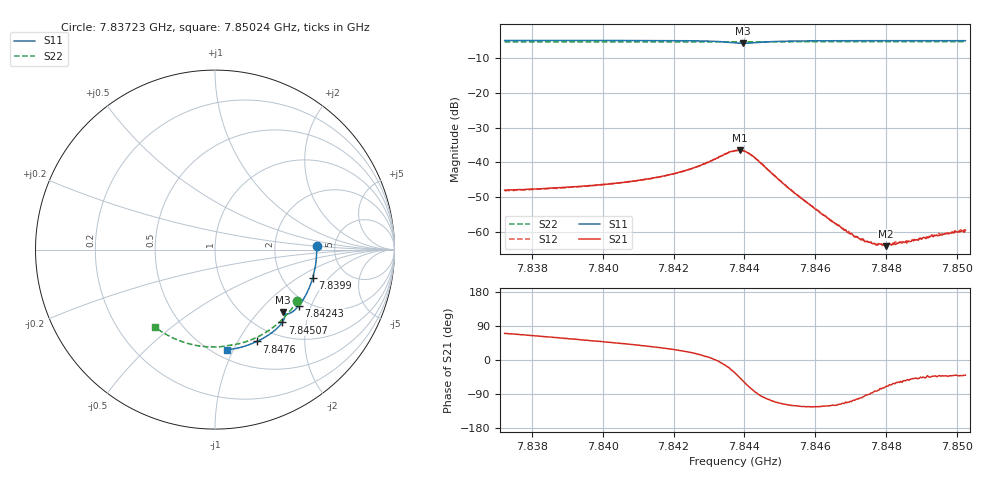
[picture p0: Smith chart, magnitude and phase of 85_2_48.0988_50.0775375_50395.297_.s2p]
#  HZ  S  RI  R  50.00
! Rohde & Schwarz Vector Network Analyzer
! Rohde-Schwarz,ZNB20-2Port,1311601062101988,3.16
! Created: UTC 12/23/2023, 3:43:11 AM
! freq[Hz]  re:S11  im:S11  re:S21  im:S21  re:S12  im:S12  re:S22  im:S22
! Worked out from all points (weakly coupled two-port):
!   401 points, 7.83723 GHz to 7.85024 GHz, reference 50 ohm
!   highest |S21| = -36.51 dB at 7.84386 GHz (marker M1); lowest = -64.1 dB at 7.84799 GHz (marker M2)
!   lowest |S11| = -5.8 dB at 7.84396 GHz (marker M3), VSWR 3.13, Z = 72.5 - j68.9 ohm
!   |S11| at or under -10 dB: nowhere
!   |S22| runs from -5.4 to -5.3 dB; largest |S21 - S12| = 0.00029
!   S11 on the Smith chart (normalised r, x): 7.83723 GHz: 3.60, +0.21; 7.8399 GHz: 2.93, -1.35; 7.84243 GHz: 1.79, -1.64; 7.84507 GHz: 1.25, -1.46; 7.8476 GHz: 0.81, -1.21; 7.85024 GHz: 0.58, -0.94
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7.837232e9  0.5661 0.0199  0.00135 0.00374  0.00135 0.00369  0.4586 -0.2842
7.83941e9  0.5532 -0.1243  0.00273 0.00364  0.00268 0.00358  0.3618 -0.4015
7.839898e9  0.545 -0.1561  0.0031 0.00359  0.00308 0.00355  0.3358 -0.4237
7.841588e9  0.5008 -0.2629  0.00517 0.00334  0.00517 0.00336  0.2358 -0.4871
7.842433e9  0.4666 -0.3136  0.00738 0.0028  0.00733 0.0028  0.1809 -0.5104
7.843246e9  0.4178 -0.3543  0.0115 -0.00043  0.0116 -0.00042  0.1258 -0.5257
7.843734e9  0.3833 -0.3556  0.0122 -0.00826  0.0123 -0.00817  0.0932 -0.531
7.843864e9  0.3797 -0.3513  0.0103 -0.0108  0.0103 -0.0109  0.085 -0.5323
7.843961e9  0.3797 -0.3486  0.00848 -0.0121  0.0085 -0.012  0.079 -0.5333
7.844254e9  0.3876 -0.3525  0.00196 -0.012  0.00204 -0.012  0.0602 -0.5367
7.845066e9  0.3746 -0.4059  -0.00218 -0.0046  -0.0022 -0.00462  0.00361 -0.5427
7.845912e9  0.3325 -0.4504  -0.00128 -0.00193  -0.00129 -0.00195  -0.0559 -0.5408
7.846497e9  0.3 -0.4748  -0.000673 -0.00121  -0.000697 -0.0012  -0.0971 -0.5353
7.847049e9  0.2678 -0.4947  -0.000278 -0.000878  -0.000279 -0.000853  -0.1348 -0.5277
7.847342e9  0.2502 -0.504  -0.000102 -0.000786  -0.000114 -0.000763  -0.1547 -0.5222
7.847602e9  0.2343 -0.5117  3.92e-05 -0.000675  7.49e-06 -0.000715  -0.1722 -0.5166
7.847862e9  0.2183 -0.519  0.000154 -0.000643  0.000169 -0.00065  -0.1893 -0.5109
7.847992e9  0.2105 -0.5222  0.000212 -0.000584  0.000221 -0.00062  -0.1981 -0.5077
7.84809e9  0.2042 -0.5248  0.000287 -0.000622  0.000263 -0.000622  -0.2043 -0.5054
7.848512e9  0.1775 -0.5344  0.00041 -0.00057  0.000416 -0.000577  -0.2318 -0.4936
7.849877e9  0.0892 -0.5555  0.00074 -0.000646  0.000749 -0.000645  -0.3148 -0.4462
7.850235e9  0.0656 -0.5587  0.000809 -0.000684  0.00078 -0.000688  -0.335 -0.4314
